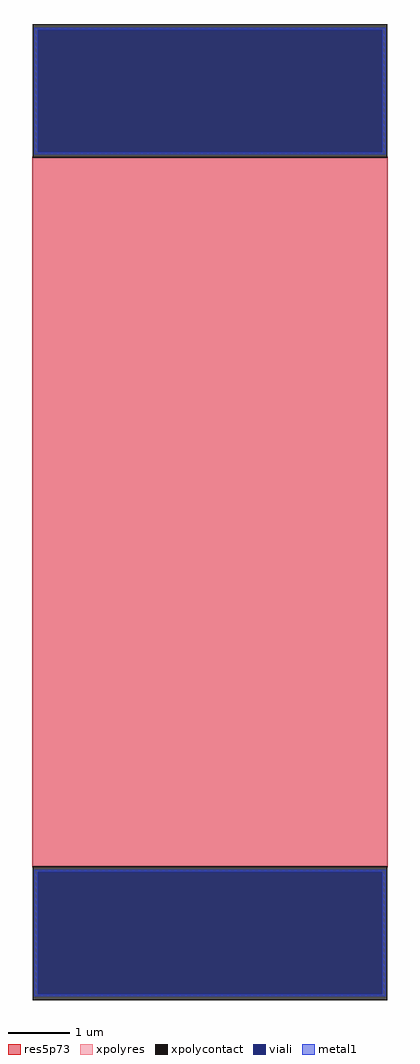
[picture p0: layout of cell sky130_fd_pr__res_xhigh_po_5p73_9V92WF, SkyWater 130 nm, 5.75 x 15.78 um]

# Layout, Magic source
magic
tech sky130A
magscale 1 2
<< xpolycontact >>
rect -573 1146 573 1578
rect -573 -1578 573 -1146
<< xpolyres >>
rect -573 -1146 573 1146
<< viali >>
rect -557 1163 557 1560
rect -557 -1560 557 -1163
<< metal1 >>
rect -569 1560 569 1566
rect -569 1163 -557 1560
rect 557 1163 569 1560
rect -569 1157 569 1163
rect -569 -1163 569 -1157
rect -569 -1560 -557 -1163
rect 557 -1560 569 -1163
rect -569 -1566 569 -1560
<< res5p73 >>
rect -575 -1148 575 1148
<< properties >>
string gencell sky130_fd_pr__res_xhigh_po_5p73
string library sky130
string parameters w 5.73 l 11.46 m 1 nx 1 wmin 5.730 lmin 0.50 rho 2000 val 4.065k dummy 0 dw 0.0 term 188.2 sterm 0.0 caplen 0 wmax 5.730 guard 0 glc 1 grc 1 gtc 1 gbc 1 compatible {sky130_fd_pr__res_xhigh_po_0p35  sky130_fd_pr__res_xhigh_po_0p69 sky130_fd_pr__res_xhigh_po_1p41  sky130_fd_pr__res_xhigh_po_2p85 sky130_fd_pr__res_xhigh_po_5p73} snake 0 full_metal 0 n_guard 0 hv_guard 0 vias 1 viagb 0 viagt 0 viagl 0 viagr 0
<< end >>
